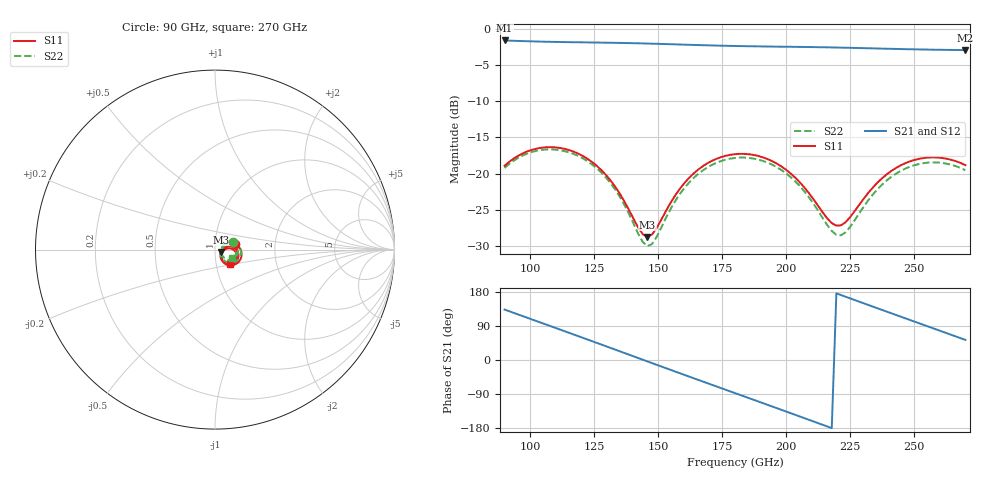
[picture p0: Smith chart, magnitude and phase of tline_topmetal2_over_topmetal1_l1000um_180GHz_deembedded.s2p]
! Created with skrf 2.0.1 (http://scikit-rf.org).
# GHz S DB R 50.0
!freq dBS11 angS11 dBS21 angS21 dBS12 angS12 dBS22 angS22
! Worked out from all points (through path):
!   101 points, 90 GHz to 270 GHz, reference 50 ohm
!   highest |S21| = -1.60 dB at 90 GHz (marker M1); lowest = -2.9 dB at 270 GHz (marker M2)
!   group delay of S21, straight-line fit = 6.8 ps
!   lowest |S11| = -28.8 dB at 145.8 GHz (marker M3), VSWR 1.08, Z = 53.5 - j1.44 ohm
!   |S11| at or under -10 dB: start of sweep to end of sweep
!   |S22| runs from -30.0 to -16.7 dB; largest |S21 - S12| = 9.3e-14
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90  -18.92 16.2  -1.60 133.1  -1.60 133.1  -19.22 22.2
99  -16.92 0.0  -1.71 111.1  -1.71 111.1  -17.21 6.4
106.2  -16.36 -13.9  -1.78 93.6  -1.78 93.6  -16.67 -7.1
113.4  -16.58 -27.7  -1.83 76.1  -1.83 76.1  -16.89 -20.6
120.6  -17.58 -40.8  -1.87 58.4  -1.87 58.4  -17.90 -33.5
133.2  -21.81 -57.2  -1.93 27.4  -1.93 27.4  -22.20 -50.2
142.2  -27.47 -43.9  -2.00 5.1  -2.00 5.1  -28.32 -38.1
145.8  -28.75 -21.5  -2.03 -3.8  -2.03 -3.8  -30.03 -13.7
151.2  -26.37 7.5  -2.08 -17.1  -2.08 -17.1  -27.46 19.9
156.6  -23.04 14.3  -2.14 -30.4  -2.14 -30.4  -23.82 27.3
163.8  -19.99 9.0  -2.22 -48.0  -2.22 -48.0  -20.62 22.2
172.8  -17.95 -4.4  -2.31 -69.9  -2.31 -69.9  -18.50 8.9
180  -17.32 -16.7  -2.37 -87.4  -2.37 -87.4  -17.84 -3.3
194.4  -18.26 -40.9  -2.45 -122.4  -2.45 -122.4  -18.76 -27.3
203.4  -20.52 -52.2  -2.49 -144.4  -2.49 -144.4  -21.03 -39.0
210.6  -23.52 -53.7  -2.52 -162.0  -2.52 -162.0  -24.13 -41.4
217.8  -26.84 -36.3  -2.57 -179.8  -2.57 -179.8  -27.94 -24.4
221.4  -27.15 -19.1  -2.59 171.4  -2.59 171.4  -28.53 -5.2
230.4  -23.42 4.6  -2.67 149.3  -2.67 149.3  -24.50 22.7
241.2  -19.60 -1.1  -2.76 123.0  -2.76 123.0  -20.42 17.3
255.6  -17.78 -22.0  -2.87 88.0  -2.87 88.0  -18.48 -4.0
270  -18.83 -43.2  -2.93 53.0  -2.93 53.0  -19.53 -26.4
